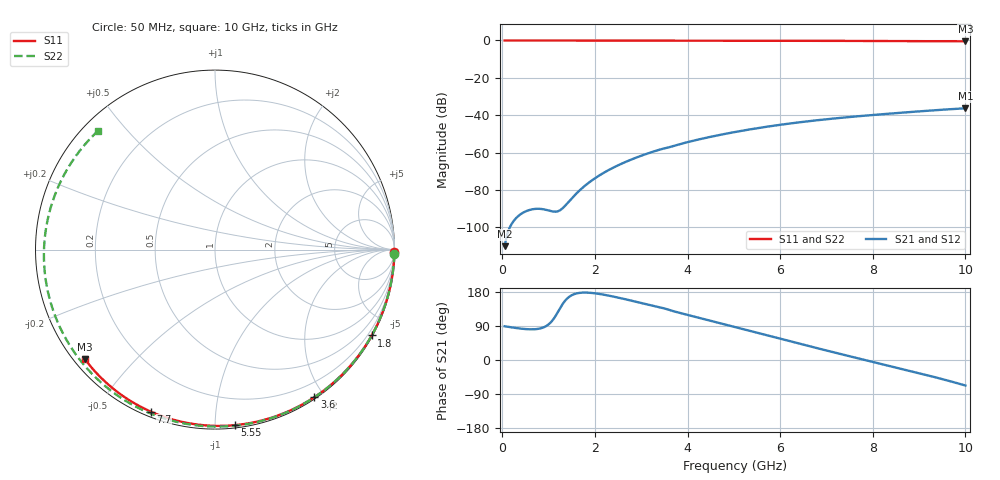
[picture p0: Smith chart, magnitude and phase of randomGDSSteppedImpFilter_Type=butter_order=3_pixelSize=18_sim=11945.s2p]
! freq	dB(S11)	phase(S11)	dB(S12)	phase(S12)
!  dB(S21)	phase(S21)	dB(S22)	phase(S22)
!S-par simulation data
#  GHz  S  DB  R 50
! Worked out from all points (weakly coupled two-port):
!   200 points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, 50 MHz to 10 GHz, reference 50 ohm
!   highest |S21| = -36.30 dB at 10 GHz (marker M1); lowest = -110.0 dB at 50 MHz (marker M2)
!   lowest |S11| = -0.5 dB at 10 GHz (marker M3), VSWR 37.34, Z = 1.52 - j18.2 ohm
!   |S11| at or under -10 dB: nowhere
!   |S22| runs from -0.6 to 0.0 dB; largest |S21 - S12| = 0
!   S11 on the Smith chart (normalised r, x): 50 MHz: open; 1.8 GHz: 0.03, -3.91; 3.6 GHz: 0.02, -1.88; 5.55 GHz: 0.02, -1.12; 7.7 GHz: 0.02, -0.68; 10 GHz: 0.03, -0.36
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0.05  -0.00 -0.8  -110.04 89.1  -110.04 89.1  -0.00 -1.3
0.8  -0.02 -12.9  -90.06 82.8  -90.06 82.8  -0.03 -20.0
1.65  -0.03 -26.3  -80.66 176.8  -80.66 176.8  -0.05 -40.7
1.7  -0.03 -27.1  -79.51 177.5  -79.51 177.5  -0.05 -41.9
1.75  -0.04 -27.9  -78.43 177.9  -78.43 177.9  -0.05 -43.1
1.8  -0.04 -28.7  -77.40 177.9  -77.40 177.9  -0.06 -44.3
2.1  -0.04 -33.4  -72.14 174.2  -72.14 174.2  -0.07 -51.4
2.45  -0.05 -38.8  -67.38 166.0  -67.38 166.0  -0.08 -59.6
2.9  -0.06 -45.6  -62.59 153.4  -62.59 153.4  -0.09 -69.9
3.4  -0.07 -53.1  -58.39 138.9  -58.39 138.9  -0.11 -81.1
3.6  -0.08 -56.0  -57.14 132.4  -57.14 132.4  -0.11 -85.5
4.3  -0.09 -66.2  -52.62 109.7  -52.62 109.7  -0.14 -100.5
5.05  -0.12 -76.7  -48.86 86.2  -48.86 86.2  -0.18 -116.3
5.55  -0.14 -83.6  -46.77 70.5  -46.77 70.5  -0.21 -126.6
6.15  -0.16 -91.6  -44.62 51.5  -44.62 51.5  -0.24 -138.9
6.7  -0.19 -98.8  -42.95 34.3  -42.95 34.3  -0.29 -150.2
7.2  -0.22 -105.3  -41.65 18.9  -41.65 18.9  -0.33 -160.5
7.7  -0.26 -111.6  -40.51 3.9  -40.51 3.9  -0.38 -171.1
8.35  -0.31 -119.7  -39.17 -15.3  -39.17 -15.3  -0.45 174.7
8.8  -0.35 -125.3  -38.30 -28.7  -38.30 -28.7  -0.50 164.4
9.2  -0.38 -130.2  -37.57 -40.9  -37.57 -40.9  -0.55 154.9
10  -0.47 -140.0  -36.30 -67.3  -36.30 -67.3  -0.64 134.7
